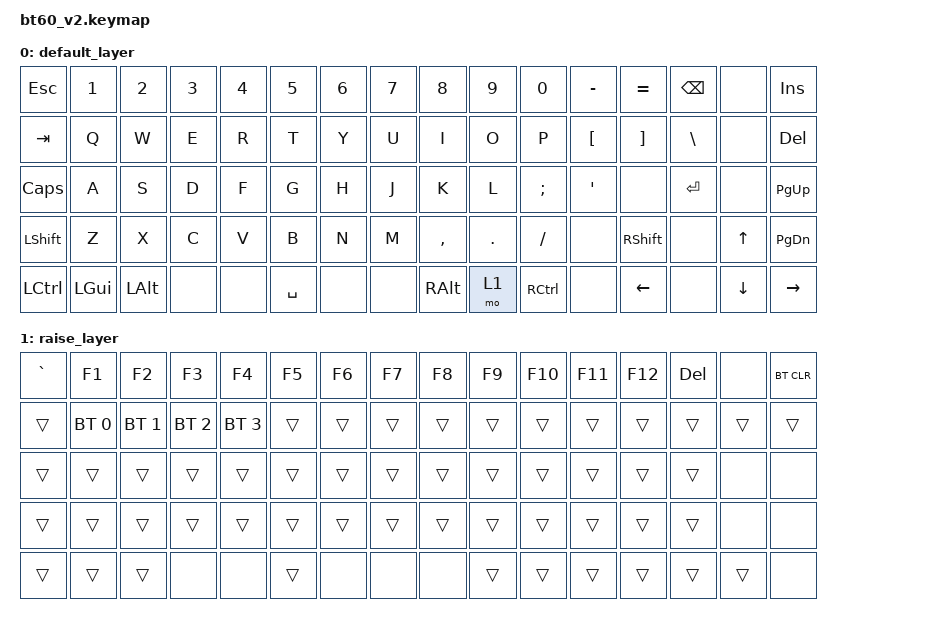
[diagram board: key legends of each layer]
#include <behaviors.dtsi>
#include <dt-bindings/zmk/keys.h>
#include <dt-bindings/zmk/bt.h>

/ {
    keymap {
        compatible = "zmk,keymap";

        default_layer {
    // 16 columns per row to match your col-gpios
  	  bindings = <
   	     	&kp ESC   &kp N1   &kp N2   &kp N3   &kp N4   &kp N5   &kp N6   &kp N7   &kp N8   &kp N9   &kp N0   &kp MINUS &kp EQUAL &kp BSPC &none     &kp INS
   	   	&kp TAB   &kp Q    &kp W    &kp E    &kp R    &kp T    &kp Y    &kp U    &kp I    &kp O    &kp P    &kp LBKT  &kp RBKT  &kp BSLH &none     &kp DEL
    	 	&kp CLCK  &kp A    &kp S    &kp D    &kp F    &kp G    &kp H    &kp J    &kp K    &kp L    &kp SEMI &kp SQT   &none     &kp RET  &none     &kp PG_UP
     	   	&kp LSHFT &kp Z    &kp X    &kp C    &kp V    &kp B    &kp N    &kp M    &kp COMMA &kp DOT  &kp FSLH &none     &kp RSHFT &none    &kp UP    &kp PG_DN
     	  	&kp LCTRL &kp LGUI &kp LALT &none    &none    &kp SPACE &none   &none    &kp RALT &mo 1    &kp RCTRL &none    &kp LEFT  &none    &kp DOWN  &kp RIGHT
 	   >;
        };

        raise_layer {
            bindings = <
                &kp GRAVE &kp F1       &kp F2       &kp F3       &kp F4       &kp F5 &kp F6 &kp F7 &kp F8 &kp F9 &kp F10 &kp F11 &kp F12 &kp DEL &none &bt BT_CLR
                &trans    &bt BT_SEL 0 &bt BT_SEL 1 &bt BT_SEL 2 &bt BT_SEL 3 &trans &trans &trans &trans &trans &trans  &trans  &trans  &trans  &trans &trans
                &trans    &trans       &trans       &trans       &trans       &trans &trans &trans &trans &trans &trans  &trans  &trans  &trans  &none  &none
                &trans    &trans       &trans       &trans       &trans       &trans &trans &trans &trans &trans &trans  &trans  &trans  &trans  &none  &none
                &trans    &trans       &trans       &none        &none        &trans &none  &none  &none  &trans &trans  &trans  &trans  &trans  &trans &none
            >;
        };
    };
};
